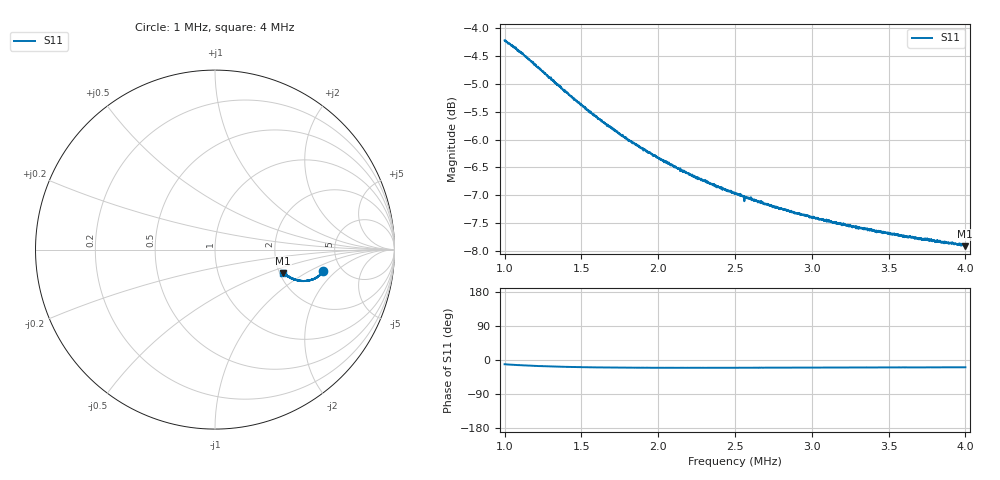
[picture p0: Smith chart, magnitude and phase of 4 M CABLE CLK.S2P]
!Keysight Technologies,E5063A,MY54504603,A.05.08
!Date: Thu Nov 19 06:31:14 2026
!Data & Calibration Information:
!Freq	S11:NONE(--)	S21:NONE(--)	S12:NONE(--)	S22:NONE(--)
# Hz S dB R 50
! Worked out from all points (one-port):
!   2000 points, 1 MHz to 4 MHz, reference 50 ohm
!   lowest |S11| = -7.9 dB at 3.998 MHz (marker M1), VSWR 2.34, Z = 104 - j32.9 ohm
!   |S11| at or under -10 dB: nowhere
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1000000  -4.22 -11.2  -200.00 0.0  -200.00 0.0  -200.00 0.0
1055528  -4.32 -12.7  -200.00 0.0  -200.00 0.0  -200.00 0.0
1106553  -4.44 -13.8  -200.00 0.0  -200.00 0.0  -200.00 0.0
1172586  -4.60 -15.1  -200.00 0.0  -200.00 0.0  -200.00 0.0
1231116  -4.73 -16.0  -200.00 0.0  -200.00 0.0  -200.00 0.0
1313657  -4.95 -17.1  -200.00 0.0  -200.00 0.0  -200.00 0.0
1363182  -5.04 -17.7  -200.00 0.0  -200.00 0.0  -200.00 0.0
1441221  -5.24 -18.4  -200.00 0.0  -200.00 0.0  -200.00 0.0
1501251  -5.37 -19.0  -200.00 0.0  -200.00 0.0  -200.00 0.0
1604802  -5.62 -19.6  -200.00 0.0  -200.00 0.0  -200.00 0.0
1768384  -5.94 -20.1  -200.00 0.0  -200.00 0.0  -200.00 0.0
1891446  -6.16 -20.4  -200.00 0.0  -200.00 0.0  -200.00 0.0
2001000  -6.33 -20.6  -200.00 0.0  -200.00 0.0  -200.00 0.0
2239620  -6.68 -20.6  -200.00 0.0  -200.00 0.0  -200.00 0.0
2500750  -6.98 -20.5  -200.00 0.0  -200.00 0.0  -200.00 0.0
2757379  -7.22 -20.2  -200.00 0.0  -200.00 0.0  -200.00 0.0
3000500  -7.39 -20.0  -200.00 0.0  -200.00 0.0  -200.00 0.0
3266133  -7.57 -19.9  -200.00 0.0  -200.00 0.0  -200.00 0.0
3500250  -7.69 -19.5  -200.00 0.0  -200.00 0.0  -200.00 0.0
3851426  -7.85 -19.3  -200.00 0.0  -200.00 0.0  -200.00 0.0
3998499  -7.92 -19.2  -200.00 0.0  -200.00 0.0  -200.00 0.0
4000000  -7.89 -19.2  -200.00 0.0  -200.00 0.0  -200.00 0.0
